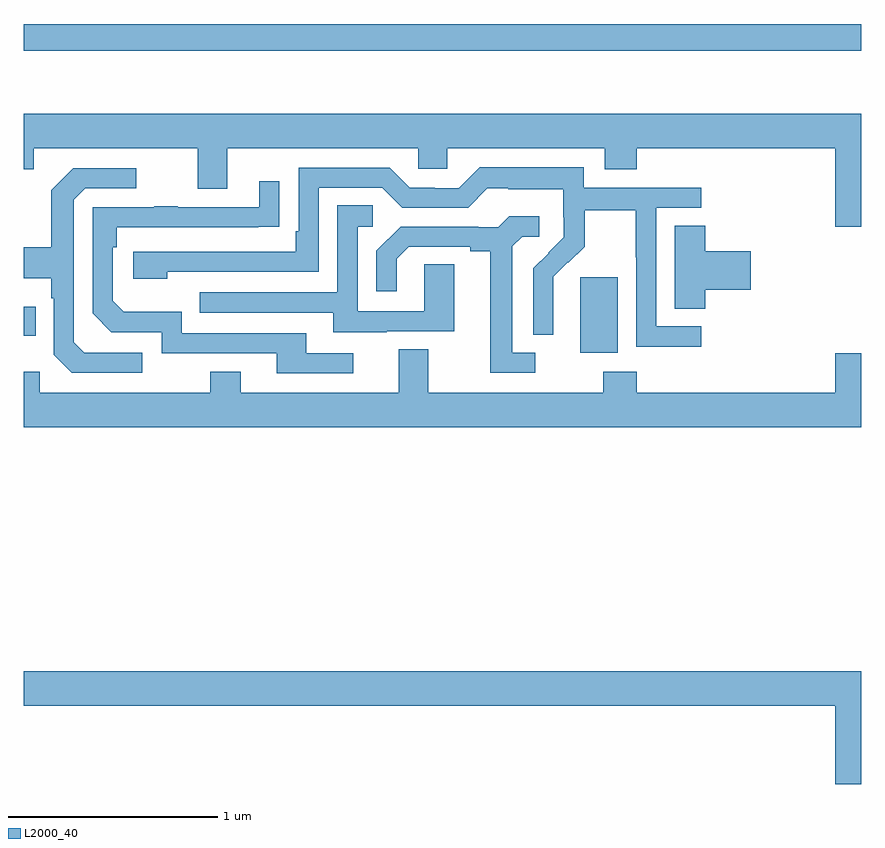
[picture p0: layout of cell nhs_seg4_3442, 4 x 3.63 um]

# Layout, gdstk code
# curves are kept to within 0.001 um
import gdstk
lib = gdstk.Library(unit=1e-6, precision=1e-09)
def R(c, l, rs):  # rectangles x0, y0, x1, y1
    for r in rs: c.add(gdstk.rectangle(r[:2], r[2:], *l))
def P(c, l, *ps):  # polygons
    for p in ps: c.add(gdstk.Polygon(p, *l))
L2000_40 = (2000, 40)

nhs_seg4_3442 = lib.new_cell('nhs_seg4_3442')
R(nhs_seg4_3442, L2000_40, [(295.658,777.194,295.837,777.555), (293,777.275,293.057,777.415), (293,778.638,297,778.766)])
P(nhs_seg4_3442, L2000_40, [(297,778.336),(293,778.336),(293,778.073),(293.047,778.073),(293.047,778.172),(293.831,778.172),(293.831,777.978),(293.971,777.978),(293.971,778.172),(294.885,778.172),(294.885,778.074),(295.023,778.074),(295.023,778.172),(295.775,778.172),(295.775,778.073),(295.928,778.073),(295.928,778.172),(296.876,778.172),(296.876,777.798),(297,777.798)],
  [(296.236,777.321),(296.022,777.321),(296.022,777.888),(296.236,777.888),(296.236,777.984),(295.674,777.984),(295.674,778.081),(295.177,778.081),(295.077,777.981),(294.962,777.981),(294.962,777.984),(294.843,777.984),(294.747,778.08),(294.312,778.08),(294.312,777.775),(294.299,777.775),(294.299,777.678),(293.523,777.678),(293.523,777.548),(293.684,777.548),(293.684,777.582),(294.408,777.582),(294.408,777.984),(294.711,777.984),(294.807,777.888),(295.122,777.888),(295.215,777.981),(295.315,777.981),(295.315,777.977),(295.578,777.977),(295.578,777.843),(295.58,777.843),(295.58,777.746),(295.434,777.598),(295.434,777.28),(295.53,777.28),(295.529,777.557),(295.599,777.627),(295.602,777.624),(295.679,777.701),(295.679,777.876),(295.924,777.876),(295.924,777.652),(295.926,777.652),(295.926,777.223),(296.236,777.223)],
  [(293.566,777.195),(293.289,777.195),(293.238,777.246),(293.238,777.927),(293.292,777.981),(293.536,777.981),(293.536,778.077),(293.235,778.077),(293.13,777.971),(293.13,777.699),(293,777.699),(293,777.551),(293.13,777.551),(293.13,777.455),(293.142,777.455),(293.142,777.186),(293.229,777.099),(293.566,777.099)],
  [(294.574,777.192),(294.349,777.192),(294.349,777.288),(293.754,777.288),(293.754,777.391),(293.477,777.391),(293.424,777.444),(293.424,777.698),(293.444,777.698),(293.444,777.795),(294.221,777.796),(294.221,778.015),(294.125,778.015),(294.125,777.891),(293.735,777.891),(293.735,777.896),(293.623,777.896),(293.623,777.891),(293.328,777.891),(293.328,777.384),(293.418,777.294),(293.658,777.294),(293.658,777.192),(294.209,777.192),(294.209,777.096),(294.574,777.096)],
  [(294.733,777.297),(295.057,777.297),(295.057,777.617),(294.912,777.617),(294.912,777.393),(294.594,777.393),(294.594,777.798),(294.667,777.798),(294.667,777.899),(294.498,777.899),(294.498,777.483),(293.839,777.483),(293.839,777.387),(294.479,777.387),(294.479,777.293),(294.733,777.293)],
  [(295.444,777.195),(295.333,777.195),(295.333,777.703),(295.38,777.75),(295.462,777.75),(295.462,777.847),(295.318,777.847),(295.266,777.795),(295.172,777.795),(295.172,777.798),(294.8,777.798),(294.684,777.682),(294.684,777.489),(294.781,777.489),(294.781,777.645),(294.838,777.702),(295.133,777.702),(295.133,777.68),(295.229,777.68),(295.229,777.099),(295.444,777.099)],
  [(296.255,777.497),(296.473,777.497),(296.473,777.68),(296.255,777.68),(296.255,777.803),(296.111,777.803),(296.111,777.406),(296.255,777.406)],
  [(294.791,777.212),(294.791,777.004),(294.037,777.004),(294.037,777.103),(293.89,777.103),(293.89,777.004),(293.076,777.004),(293.076,777.103),(293,777.103),(293,776.84),(297,776.84),(297,777.193),(296.876,777.193),(296.876,777.004),(295.928,777.004),(295.928,777.103),(295.768,777.103),(295.768,777.004),(294.931,777.004),(294.931,777.212)],
  [(297,775.672),(293,775.672),(293,775.508),(296.876,775.508),(296.876,775.134),(297,775.134)])

lib.write_gds('nhs_seg4_3442.gds')
